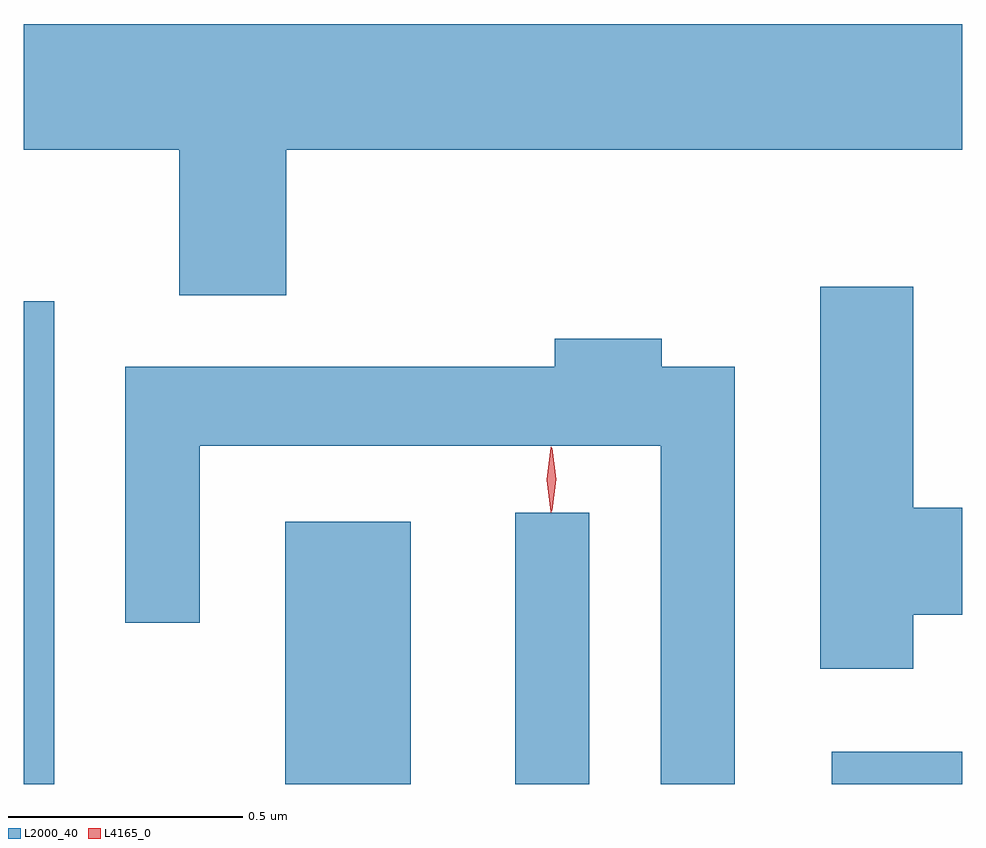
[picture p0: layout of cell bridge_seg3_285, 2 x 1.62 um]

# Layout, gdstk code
import gdstk
lib = gdstk.Library(unit=1e-6, precision=1e-09)
def R(c, l, rs):  # rectangles x0, y0, x1, y1
    for r in rs: c.add(gdstk.rectangle(r[:2], r[2:], *l))
def P(c, l, *ps):  # polygons
    for p in ps: c.add(gdstk.Polygon(p, *l))
L2000_40 = (2000, 40)
L4165_0 = (4165, 0)

bridge_seg3_285 = lib.new_cell('bridge_seg3_285')
R(bridge_seg3_285, L2000_40, [(1048.689,1137.985,1048.754,1139.013), (1049.246,1137.985,1049.514,1138.544), (1049.736,1137.985,1049.894,1138.563), (1050.411,1137.985,1050.689,1138.054)])
P(bridge_seg3_285, L2000_40, [(1049.249,1139.336),(1050.689,1139.336),(1050.689,1139.604),(1048.689,1139.604),(1048.689,1139.336),(1049.021,1139.336),(1049.021,1139.026),(1049.249,1139.026)],
  [(1050.584,1138.346),(1050.689,1138.346),(1050.689,1138.574),(1050.584,1138.574),(1050.584,1139.044),(1050.386,1139.044),(1050.386,1138.231),(1050.584,1138.231)],
  [(1050.204,1138.874),(1050.049,1138.874),(1050.049,1138.934),(1049.821,1138.934),(1049.821,1138.874),(1048.906,1138.874),(1048.906,1138.328),(1049.064,1138.328),(1049.064,1138.706),(1050.046,1138.706),(1050.046,1137.985),(1050.204,1137.985)])
P(bridge_seg3_285, L4165_0, [(1049.813,1138.563),(1049.812,1138.564),(1049.803,1138.633),(1049.812,1138.702),(1049.813,1138.703),(1049.813,1138.702),(1049.823,1138.633),(1049.813,1138.564)],
  [(1049.814,1138.567),(1049.814,1138.568),(1049.804,1138.634),(1049.814,1138.7),(1049.814,1138.701),(1049.815,1138.7),(1049.824,1138.634),(1049.815,1138.568)])

lib.write_gds('bridge_seg3_285.gds')
